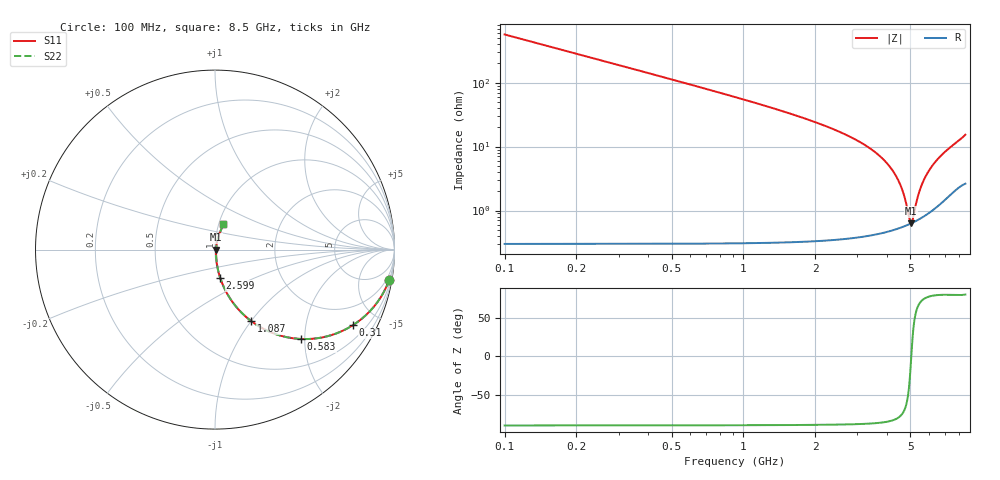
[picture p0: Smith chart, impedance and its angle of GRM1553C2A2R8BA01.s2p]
!Murata Part Number: GRM1553C2A2R8BA01
!These Parameters are Measured in Series Mode Connection
!Data Generated on Mar 30, 2021
!  o--ll--o
!Port1  Port2
!  o------o
!Operation Temp=25[degC], DC Bias Voltage=0[V]
!Freq. Start=100[MHz] Stop=9[GHz] 401[Steps]
# Hz S RI R 50
!Freq.(Hz) S11(Real) S11(Imag) S21(Real) S21(Imag) S12(Real) S12(Imag) S22(Real) S22(Imag)
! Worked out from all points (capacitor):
!   401 points, 100 MHz to 8.5 GHz, reference 50 ohm
!   read as one part in series: C = 2.8 pF near 142 MHz
!   lowest |Z| = 630 mohm at 5.035 GHz (marker M1)
!   series resonance near 5.045 GHz, so ESL is about 360 pH
!   S11 on the Smith chart (normalised r, x): 100 MHz: 1, -11; 310 MHz: 1.01, -3.65; 583 MHz: 1.01, -1.92; 1.087 GHz: 1.01, -1.00; 2.599 GHz: 1.01, -0.32; 8.5 GHz: 1.05, +0.30
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1e8  0.9699 -0.1707  0.0301 0.1707  0.0301 0.1707  0.9699 -0.1707
2.05e8  0.8843 -0.3193  0.1157 0.3193  0.1157 0.3193  0.8843 -0.3193
3.1e8  0.7691 -0.4206  0.2309 0.4206  0.2309 0.4206  0.7691 -0.4206
4.36e8  0.6259 -0.4827  0.3741 0.4827  0.3741 0.4827  0.6259 -0.4827
5.83e8  0.4809 -0.4981  0.5191 0.4981  0.5191 0.4981  0.4809 -0.4981
8.14e8  0.3174 -0.4632  0.6826 0.4632  0.6826 0.4632  0.3174 -0.4632
1.087e9  0.2012 -0.3978  0.7988 0.3978  0.7988 0.3978  0.2012 -0.3978
1.507e9  0.1084 -0.3063  0.8916 0.3063  0.8916 0.3063  0.1084 -0.3063
2.599e9  0.0289 -0.157  0.9711 0.157  0.9711 0.157  0.0289 -0.157
2.914e9  0.0206 -0.1285  0.9794 0.1285  0.9794 0.1285  0.0206 -0.1285
3.733e9  0.0092 -0.0695  0.9908 0.0695  0.9908 0.0695  0.0092 -0.0695
4.3e9  0.00635 -0.0368  0.9937 0.0368  0.9937 0.0368  0.00635 -0.0368
4.657e9  0.00587 -0.0185  0.9941 0.0185  0.9941 0.0185  0.00587 -0.0185
4.783e9  0.0059 -0.0124  0.9941 0.0124  0.9941 0.0124  0.0059 -0.0124
4.972e9  0.00613 -0.0034  0.9939 0.0034  0.9939 0.0034  0.00613 -0.0034
5.035e9  0.00625 -0.000474  0.9938 0.000474  0.9938 0.000474  0.00625 -0.000474
5.098e9  0.00639 0.00242  0.9936 -0.00242  0.9936 -0.00242  0.00639 0.00242
5.413e9  0.00744 0.0164  0.9926 -0.0164  0.9926 -0.0164  0.00744 0.0164
5.707e9  0.0089 0.029  0.9911 -0.029  0.9911 -0.029  0.0089 0.029
6.274e9  0.013 0.0519  0.987 -0.0519  0.987 -0.0519  0.013 0.0519
7.114e9  0.0225 0.0836  0.9775 -0.0836  0.9775 -0.0836  0.0225 0.0836
8.5e9  0.0464 0.1407  0.9536 -0.1407  0.9536 -0.1407  0.0464 0.1407
